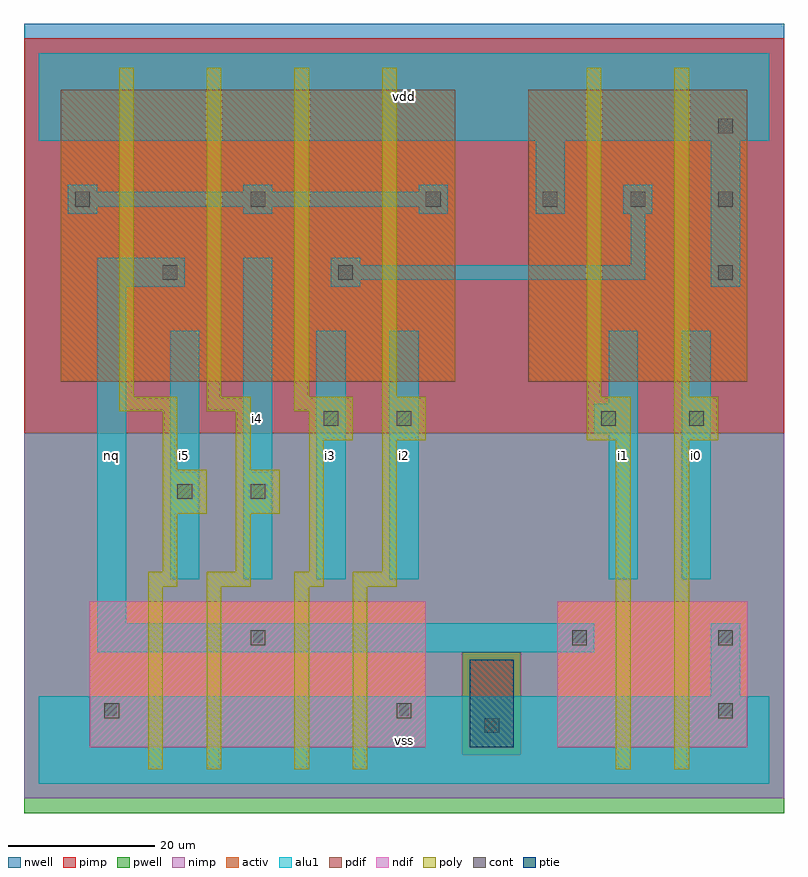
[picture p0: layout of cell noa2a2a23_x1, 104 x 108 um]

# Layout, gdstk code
import gdstk
lib = gdstk.Library(unit=1e-6, precision=1e-09)
def R(c, l, rs):  # rectangles x0, y0, x1, y1
    for r in rs: c.add(gdstk.rectangle(r[:2], r[2:], *l))
def A(c, l, x, y, w, h, nx, ny, dx, dy):  # array of equal rectangles
    R(c, l, [(x+i*dx, y+j*dy, x+i*dx+w, y+j*dy+h) for i in range(nx) for j in range(ny)])
ndif = (3, 0)
pdif = (4, 0)
ptie = (6, 0)
cont = (25, 0)
pwell = (41, 0)
nwell = (42, 0)
activ = (43, 0)
pimp = (44, 0)
nimp = (45, 0)
poly = (46, 0)
alu1 = (49, 0)

noa2a2a23_x1 = lib.new_cell('noa2a2a23_x1')
R(noa2a2a23_x1, ndif, [(7,5,53,25), (71,5,97,25)])
R(noa2a2a23_x1, pdif, [(3,55,57,95), (67,55,97,95)])
R(noa2a2a23_x1, ptie, [(59,5,65,17)])
A(noa2a2a23_x1, cont, 5, 79, 2, 2, 3, 1, 24, 0)
A(noa2a2a23_x1, cont, 69, 79, 2, 2, 3, 1, 12, 0)
R(noa2a2a23_x1, cont, [(61,7,63,9), (9,9,11,11), (49,9,51,11), (93,9,95,11), (29,19,31,21), (73,19,75,21), (93,19,95,21), (19,39,21,41), (29,39,31,41), (39,49,41,51), (49,49,51,51), (77,49,79,51), (89,49,91,51), (17,69,19,71), (41,69,43,71), (93,69,95,71), (93,89,95,91)])
R(noa2a2a23_x1, pwell, [(-2,-4,102,48)])
R(noa2a2a23_x1, nwell, [(-2,48,102,104)])
R(noa2a2a23_x1, activ, [(7,5,53,25), (59,5,65,17), (71,5,97,25), (3,55,57,95), (67,55,97,95)])
R(noa2a2a23_x1, pimp, [(58,4,66,18), (-2,48,102,102)])
R(noa2a2a23_x1, nimp, [(-2,-2,102,4), (-2,4,58,18), (66,4,102,18), (-2,18,102,48)])
A(noa2a2a23_x1, poly, 11, 53, 2, 45, 4, 1, 12, 0)
R(noa2a2a23_x1, poly, [(15,2,17,27), (23,2,25,27), (35,2,37,27), (43,2,45,27), (79,2,81,47), (87,2,89,47), (15,27,19,29), (23,27,29,29), (35,27,39,29), (43,27,49,29), (17,29,19,37), (27,29,29,37), (37,29,39,47), (47,29,49,47), (17,37,23,43), (27,37,33,43), (17,43,19,51), (27,43,29,51), (37,47,43,51), (47,47,53,53), (75,47,81,53), (87,47,93,53), (11,51,19,53), (23,51,29,53), (35,51,43,53), (75,53,77,98), (87,53,89,98)])
A(noa2a2a23_x1, alu1, 4, 78, 4, 1, 3, 2, 24, 3)
R(noa2a2a23_x1, alu1, [(0,0,100,12), (92,12,96,22), (8,18,76,22), (8,22,12,68), (18,28,22,62), (28,28,32,72), (38,28,42,62), (48,28,52,62), (78,28,82,48), (88,28,92,62), (76,48,82,52), (78,52,82,62), (8,68,20,72), (40,68,44,69), (92,68,96,88), (40,69,83,71), (40,71,44,72), (81,71,83,78), (68,78,72,88), (80,78,84,82), (4,79,56,81), (0,88,100,100)])
noa2a2a23_x1.add(gdstk.Label('nq', (10,45), layer=49, texttype=0))
noa2a2a23_x1.add(gdstk.Label('i5', (20,45), layer=49, texttype=0))
noa2a2a23_x1.add(gdstk.Label('i3', (40,45), layer=49, texttype=0))
noa2a2a23_x1.add(gdstk.Label('i4', (30,50), layer=49, texttype=0))
noa2a2a23_x1.add(gdstk.Label('vss', (50,6), layer=49, texttype=0))
noa2a2a23_x1.add(gdstk.Label('i2', (50,45), layer=49, texttype=0))
noa2a2a23_x1.add(gdstk.Label('vdd', (50,94), layer=49, texttype=0))
noa2a2a23_x1.add(gdstk.Label('i1', (80,45), layer=49, texttype=0))
noa2a2a23_x1.add(gdstk.Label('i0', (90,45), layer=49, texttype=0))

lib.write_gds('noa2a2a23_x1.gds')
